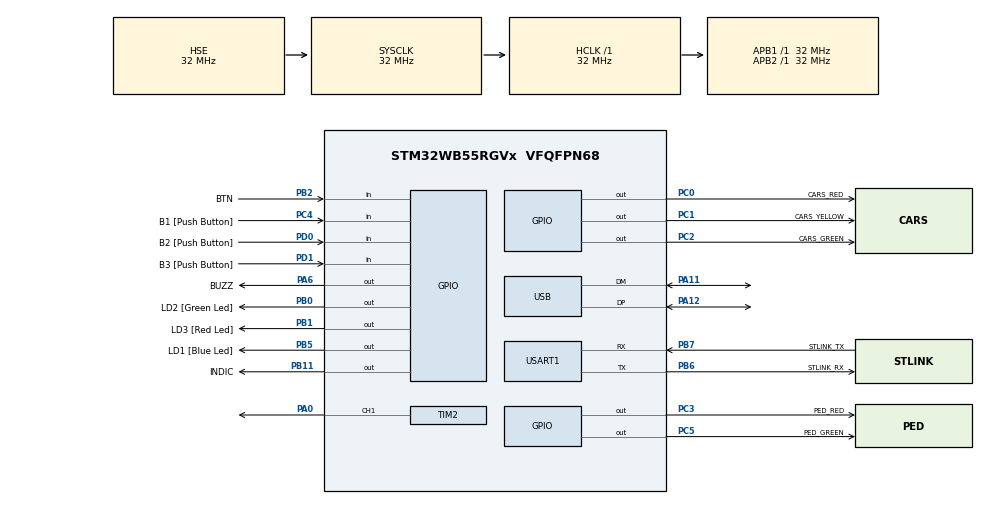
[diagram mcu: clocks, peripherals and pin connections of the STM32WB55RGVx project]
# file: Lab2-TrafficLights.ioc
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Mcu.Family=STM32WB
Mcu.Name=STM32WB55RGVx
Mcu.Package=VFQFPN68
NVIC.PriorityGroup=NVIC_PRIORITYGROUP_4
OSC_IN.Mode=HSE-External-Oscillator
OSC_IN.Signal=RCC_OSC_IN
OSC_OUT.Mode=HSE-External-Oscillator
OSC_OUT.Signal=RCC_OSC_OUT
PA0.Signal=S_TIM2_CH1
PA11.Mode=Device
PA11.Signal=USB_DM
PA12.Mode=Device
PA12.Signal=USB_DP
PA13.GPIO_Label=JTMS
PA13.Mode=Trace_Asynchronous_SW
PA13.Signal=SYS_JTMS-SWDIO
PA14.GPIO_Label=JTCK
PA14.Mode=Trace_Asynchronous_SW
PA14.Signal=SYS_JTCK-SWCLK
PA6.GPIO_Label=BUZZ
PA6.GPIO_PuPd=GPIO_NOPULL
PA6.Signal=GPIO_Output
PB0.GPIO_Label=LD2 [Green Led]
PB0.Signal=GPIO_Output
PB1.GPIO_Label=LD3 [Red Led]
PB1.Signal=GPIO_Output
PB11.GPIO_Label=INDIC
PB11.Signal=GPIO_Output
PB2.GPIO_Label=BTN
PB2.GPIO_PuPd=GPIO_PULLDOWN
PB2.Signal=GPIO_Input
PB3.GPIO_Label=JTDO
PB3.Mode=Trace_Asynchronous_SW
PB3.Signal=SYS_JTDO-SWO
PB5.GPIO_Label=LD1 [Blue Led]
PB5.Signal=GPIO_Output
PB6.GPIO_Label=STLINK_RX
PB6.GPIO_PuPd=GPIO_PULLUP
PB6.Mode=Asynchronous
PB6.Signal=USART1_TX
PB7.GPIO_Label=STLINK_TX
PB7.GPIO_PuPd=GPIO_PULLUP
PB7.Mode=Asynchronous
PB7.Signal=USART1_RX
PC0.GPIO_Label=CARS_RED
PC0.Signal=GPIO_Output
PC1.GPIO_Label=CARS_YELLOW
PC1.Signal=GPIO_Output
PC13.Mode=SYS_WakeUp1
PC13.Signal=SYS_WKUP2
PC14-OSC32_IN.Mode=LSE-External-Oscillator
PC14-OSC32_IN.Signal=RCC_OSC32_IN
PC15-OSC32_OUT.Mode=LSE-External-Oscillator
PC15-OSC32_OUT.Signal=RCC_OSC32_OUT
PC2.GPIO_Label=CARS_GREEN
PC2.Signal=GPIO_Output
PC3.GPIO_Label=PED_RED
PC3.Signal=GPIO_Output
PC4.GPIO_Label=B1 [Push Button]
PC4.Signal=GPIO_Input
PC5.GPIO_Label=PED_GREEN
PC5.Signal=GPIO_Output
PD0.GPIO_Label=B2 [Push Button]
PD0.Signal=GPIO_Input
PD1.GPIO_Label=B3 [Push Button]
PD1.Signal=GPIO_Input
ProjectManager.HeapSize=0x200
ProjectManager.StackSize=0x400
ProjectManager.TargetToolchain=STM32CubeIDE
RCC.ADCFreq_Value=48000000
RCC.AHBFreq_Value=32000000
RCC.APB1Freq_Value=32000000
RCC.APB1TimFreq_Value=32000000
RCC.APB2Freq_Value=32000000
RCC.APB2TimFreq_Value=32000000
RCC.APB3Freq_Value=16000000
RCC.CortexFreq_Value=32000000
RCC.HCLKFreq_Value=32000000
RCC.HSE_VALUE=32000000
RCC.HSI48_VALUE=48000000
RCC.HSI_VALUE=16000000
RCC.LSE_Drive_Capability=RCC_LSEDRIVE_LOW
RCC.PLLN=32
RCC.PLLSAI1N=24
RCC.SMPSCLockSelectionVirtual=RCC_SMPSCLKSOURCE_HSI
RCC.SMPSCLockSelectionVirtualVirtual=RCC_SMPSCLKSOURCE_HSI
RCC.SMPSDivider=1
RCC.SYSCLKFreq_VALUE=32000000
RCC.SYSCLKSource=RCC_SYSCLKSOURCE_HSE
RCC.USBFreq_Value=48000000
RCC.VCOOutputFreq_Value=128000000
SH.S_TIM2_CH1.0=TIM2_CH1,PWM Generation1 CH1
TIM2.Channel-PWM\ Generation1\ CH1=TIM_CHANNEL_1
USART1.VirtualMode-Asynchronous=VM_ASYNC
USART1.WordLength=WORDLENGTH_8B
VP_TIM2_VS_ClockSourceINT.Mode=Internal
board=P-NUCLEO-WB55-NUCLEO

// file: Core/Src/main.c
/* USER CODE BEGIN Header */
/**
 ******************************************************************************
 * @file           : main.c
 * @brief          : Main program body
 ******************************************************************************
 * @attention
 *
 * Copyright (c) 2023 STMicroelectronics.
 * All rights reserved.
 *
 * This software is licensed under terms that can be found in the LICENSE file
 * in the root directory of this software component.
 * If no LICENSE file comes with this software, it is provided AS-IS.
 *
 ******************************************************************************
 */
/* USER CODE END Header */
#include "main.h"

/* USER CODE BEGIN Includes */
#include "abuzz.h"
#include <stdbool.h>
#include <string.h>
#include <stdio.h>
#include "transmit.h"
/* USER CODE END Includes */

TIM_HandleTypeDef htim2;

UART_HandleTypeDef huart1;

PCD_HandleTypeDef hpcd_USB_FS;

void SystemClock_Config(void);
void PeriphCommonClock_Config(void);
static void MX_GPIO_Init(void);
static void MX_USART1_UART_Init(void);
static void MX_USB_PCD_Init(void);
static void MX_TIM2_Init(void);

/* USER CODE BEGIN 0 */

enum traffic_light_state currentState;

enum traffic_light_state {
	s_CarsRed_PedestrianGreen = 0b10001,
	s_CarsRedYellow_PedestrianRed = 0b11010,
	s_CarsYellow_PedestrianRed = 0b01010,
	s_CarsGreen_PedestrianRed = 0b00110,
	s_CarsRed_PedestrianRed = 0b10010,
	s_init = 0b11111
};

enum event {
	ev_none,
	ev_button_push,
	ev_state_timeout,
	ev_error = -99
};

#define EVQ_SIZE 10
enum event evq[ EVQ_SIZE ];
int evq_count = 0;
int evq_front_ix = 0;
int evq_rear_ix = 0;

void evq_init(){
	for(int i = 0; i < EVQ_SIZE; i++)
		evq[i] = ev_error;
}
enum event evq_front() {
	if (evq_count > 0) {
		return evq[evq_front_ix];
	} else {
		return ev_none;
	}
}

bool evq_is_full(){
	return evq_count == EVQ_SIZE;
}

bool evq_is_empty(){
	return evq_count == 0;
}

void evq_push_back(enum event e){
	if (!evq_is_full()) {
		evq[evq_rear_ix] = e;
		evq_rear_ix = (evq_rear_ix + 1) % EVQ_SIZE;
		evq_count++;
	} else {
		printf("Queue full");
	}
}

enum event evq_pop_front(){
	if (!evq_is_empty()) {
		enum event e = evq[evq_front_ix];
		evq[evq_front_ix] = ev_none;
		evq_front_ix = (evq_front_ix + 1) % EVQ_SIZE;
		evq_count--;
		return e;
	} else {
		return ev_none;
	}
}

void reset_traffic_lights(){
	HAL_GPIO_WritePin(CARS_RED_GPIO_Port, CARS_RED_Pin, RESET);
	HAL_GPIO_WritePin(CARS_YELLOW_GPIO_Port, CARS_YELLOW_Pin, RESET);
	HAL_GPIO_WritePin(CARS_GREEN_GPIO_Port, CARS_GREEN_Pin, RESET);
	HAL_GPIO_WritePin(PED_RED_GPIO_Port, PED_RED_Pin, RESET);
	HAL_GPIO_WritePin(PED_GREEN_GPIO_Port, PED_GREEN_Pin, RESET);
}

void set_traffic_lights(enum traffic_light_state state) {
	switch (state) {
	case s_CarsRed_PedestrianRed:
		reset_traffic_lights();
		currentState = s_CarsRed_PedestrianRed;
		HAL_GPIO_WritePin(CARS_RED_GPIO_Port, CARS_RED_Pin, SET);
		HAL_GPIO_WritePin(PED_RED_GPIO_Port, PED_RED_Pin, SET);
		break;
	case s_CarsRedYellow_PedestrianRed:
		reset_traffic_lights();
		currentState = s_CarsRedYellow_PedestrianRed;
		HAL_GPIO_WritePin(CARS_RED_GPIO_Port, CARS_RED_Pin, SET);
		HAL_GPIO_WritePin(CARS_YELLOW_GPIO_Port, CARS_YELLOW_Pin, SET);
		HAL_GPIO_WritePin(PED_RED_GPIO_Port, PED_RED_Pin, SET);
		break;
	case s_CarsYellow_PedestrianRed:
		reset_traffic_lights();
		currentState = s_CarsYellow_PedestrianRed;
		HAL_GPIO_WritePin(CARS_YELLOW_GPIO_Port, CARS_YELLOW_Pin, SET);
		HAL_GPIO_WritePin(PED_RED_GPIO_Port, PED_RED_Pin, SET);
		break;
	case s_CarsRed_PedestrianGreen:
		reset_traffic_lights();
		currentState = s_CarsRed_PedestrianGreen;
		HAL_GPIO_WritePin(CARS_RED_GPIO_Port, CARS_RED_Pin, SET);
		HAL_GPIO_WritePin(PED_GREEN_GPIO_Port, PED_GREEN_Pin, SET);
		break;
	case s_CarsGreen_PedestrianRed:
		reset_traffic_lights();
		currentState = s_CarsGreen_PedestrianRed;
		HAL_GPIO_WritePin(CARS_GREEN_GPIO_Port, CARS_GREEN_Pin, SET);
		HAL_GPIO_WritePin(PED_RED_GPIO_Port, PED_RED_Pin, SET);
		break;
	case s_init:
		reset_traffic_lights();
		currentState = s_init;
		HAL_GPIO_WritePin(CARS_RED_GPIO_Port, CARS_RED_Pin, SET);
		HAL_GPIO_WritePin(CARS_YELLOW_GPIO_Port, CARS_YELLOW_Pin, SET);
		HAL_GPIO_WritePin(CARS_GREEN_GPIO_Port, CARS_GREEN_Pin, SET);
		HAL_GPIO_WritePin(PED_RED_GPIO_Port, PED_RED_Pin, SET);
		HAL_GPIO_WritePin(PED_GREEN_GPIO_Port, PED_GREEN_Pin, SET);
		break;
	}
}

void buzz(){
	HAL_GPIO_WritePin(BUZZ_GPIO_Port, BUZZ_Pin, SET);
	abuzz_start();
	HAL_Delay(500);
	abuzz_p_long();
	HAL_Delay(500);
	abuzz_stop();
	HAL_GPIO_WritePin(BUZZ_GPIO_Port, BUZZ_Pin, RESET);
}

void toggleIndicator(){
	HAL_GPIO_TogglePin(INDIC_GPIO_Port, INDIC_Pin);
	buzz();
}

/* USER CODE END 0 */

int main(void)
{
	/* USER CODE BEGIN 1 */
	evq_init();
	/* USER CODE END 1 */

	/* MCU Configuration--------------------------------------------------------*/

	/* Reset of all peripherals, Initializes the Flash interface and the Systick. */
	HAL_Init();

	/* Configure the system clock */
	SystemClock_Config();

	/* Configure the peripherals common clocks */
	PeriphCommonClock_Config();

	/* Initialize all configured peripherals */
	MX_GPIO_Init();
	MX_USART1_UART_Init();
	MX_USB_PCD_Init();
	MX_TIM2_Init();
	/* USER CODE BEGIN 2 */
	HAL_TIM_PWM_Start(&htim2, TIM_CHANNEL_1);
	/* USER CODE END 2 */

	/* Infinite loop */
	/* USER CODE BEGIN WHILE */
	//test_circular_queue();
	set_traffic_lights(s_init);
	int ticks_left_in_state = 0;
	bool returnState = false;
	evq_init(); // Initialize the event queue

	while (1)
	{
		uint32_t buttonPressed = GPIOB->IDR & BTN_Pin;

		if (buttonPressed && (currentState == s_init || currentState == s_CarsGreen_PedestrianRed))
			evq_push_back(ev_button_push);

		if (evq_front() != ev_state_timeout){

			enum event currentEvent = evq_front();

			switch (currentState){
			case s_CarsGreen_PedestrianRed:
				if (currentEvent == ev_button_push){
					evq_pop_front();
					evq_push_back(ev_state_timeout);
					toggleIndicator();
					HAL_Delay(2000);
					set_traffic_lights(s_CarsYellow_PedestrianRed);
					ticks_left_in_state = 25;
				}
				break;
			case s_CarsYellow_PedestrianRed:
				evq_push_back(ev_state_timeout);
				set_traffic_lights(s_CarsRed_PedestrianRed);
				ticks_left_in_state = 15;
				break;
			case s_CarsRed_PedestrianRed:
				if(!returnState) {
					evq_push_back(ev_state_timeout);
					set_traffic_lights(s_CarsRed_PedestrianGreen);
					ticks_left_in_state = 50;
				} else if (returnState){
					returnState = false;
					evq_push_back(ev_state_timeout);
					set_traffic_lights(s_CarsRedYellow_PedestrianRed);
					toggleIndicator();
					ticks_left_in_state = 20;
				}
				break;
			case s_CarsRedYellow_PedestrianRed:
				evq_push_back(ev_state_timeout);
				set_traffic_lights(s_CarsGreen_PedestrianRed);
				ticks_left_in_state = 15;
				break;
			case s_CarsRed_PedestrianGreen:
				evq_push_back(ev_state_timeout);
				set_traffic_lights(s_CarsRed_PedestrianRed);
				ticks_left_in_state = 10;
				returnState = true;
				break;
			case s_init:
				if (currentEvent == ev_button_push){
					evq_pop_front();
					evq_push_back(ev_state_timeout);
					set_traffic_lights(s_CarsGreen_PedestrianRed);
					ticks_left_in_state = 20;
				}
				break;
			}
		} else {
			ticks_left_in_state--;
		}
		HAL_Delay(100);

		if (ticks_left_in_state == 0){
			evq_pop_front();
			evq_push_back(ev_none);
		}

		/* USER CODE END WHILE */

	}
}

void SystemClock_Config(void)
{
	RCC_OscInitTypeDef RCC_OscInitStruct = {0};
	RCC_ClkInitTypeDef RCC_ClkInitStruct = {0};

	/** Macro to configure the PLL multiplication factor
	 */
	__HAL_RCC_PLL_PLLM_CONFIG(RCC_PLLM_DIV1);

	/** Macro to configure the PLL clock source
	 */
	__HAL_RCC_PLL_PLLSOURCE_CONFIG(RCC_PLLSOURCE_MSI);

	/** Configure LSE Drive Capability
	 */
	HAL_PWR_EnableBkUpAccess();
	__HAL_RCC_LSEDRIVE_CONFIG(RCC_LSEDRIVE_LOW);

	/** Configure the main internal regulator output voltage
	 */
	__HAL_PWR_VOLTAGESCALING_CONFIG(PWR_REGULATOR_VOLTAGE_SCALE1);

	/** Initializes the RCC Oscillators according to the specified parameters
	 * in the RCC_OscInitTypeDef structure.
	 */
	RCC_OscInitStruct.OscillatorType = RCC_OSCILLATORTYPE_HSI|RCC_OSCILLATORTYPE_HSE
			|RCC_OSCILLATORTYPE_LSE|RCC_OSCILLATORTYPE_MSI;
	RCC_OscInitStruct.HSEState = RCC_HSE_ON;
	RCC_OscInitStruct.LSEState = RCC_LSE_ON;
	RCC_OscInitStruct.HSIState = RCC_HSI_ON;
	RCC_OscInitStruct.MSIState = RCC_MSI_ON;
	RCC_OscInitStruct.HSICalibrationValue = RCC_HSICALIBRATION_DEFAULT;
	RCC_OscInitStruct.MSICalibrationValue = RCC_MSICALIBRATION_DEFAULT;
	RCC_OscInitStruct.MSIClockRange = RCC_MSIRANGE_6;
	RCC_OscInitStruct.PLL.PLLState = RCC_PLL_NONE;
	if (HAL_RCC_OscConfig(&RCC_OscInitStruct) != HAL_OK)
	{
		Error_Handler();
	}

	/** Configure the SYSCLKSource, HCLK, PCLK1 and PCLK2 clocks dividers
	 */
	RCC_ClkInitStruct.ClockType = RCC_CLOCKTYPE_HCLK4|RCC_CLOCKTYPE_HCLK2
			|RCC_CLOCKTYPE_HCLK|RCC_CLOCKTYPE_SYSCLK
			|RCC_CLOCKTYPE_PCLK1|RCC_CLOCKTYPE_PCLK2;
	RCC_ClkInitStruct.SYSCLKSource = RCC_SYSCLKSOURCE_HSE;
	RCC_ClkInitStruct.AHBCLKDivider = RCC_SYSCLK_DIV1;
	RCC_ClkInitStruct.APB1CLKDivider = RCC_HCLK_DIV1;
	RCC_ClkInitStruct.APB2CLKDivider = RCC_HCLK_DIV1;
	RCC_ClkInitStruct.AHBCLK2Divider = RCC_SYSCLK_DIV1;
	RCC_ClkInitStruct.AHBCLK4Divider = RCC_SYSCLK_DIV1;

	if (HAL_RCC_ClockConfig(&RCC_ClkInitStruct, FLASH_LATENCY_1) != HAL_OK)
	{
		Error_Handler();
	}

	/** Enable MSI Auto calibration
	 */
	HAL_RCCEx_EnableMSIPLLMode();
}

void PeriphCommonClock_Config(void)
{
	RCC_PeriphCLKInitTypeDef PeriphClkInitStruct = {0};

	/** Initializes the peripherals clock
	 */
	PeriphClkInitStruct.PeriphClockSelection = RCC_PERIPHCLK_SMPS;
	PeriphClkInitStruct.SmpsClockSelection = RCC_SMPSCLKSOURCE_HSI;
	PeriphClkInitStruct.SmpsDivSelection = RCC_SMPSCLKDIV_RANGE0;

	if (HAL_RCCEx_PeriphCLKConfig(&PeriphClkInitStruct) != HAL_OK)
	{
		Error_Handler();
	}
}

static void MX_TIM2_Init(void)
{

	TIM_ClockConfigTypeDef sClockSourceConfig = {0};
	TIM_MasterConfigTypeDef sMasterConfig = {0};
	TIM_OC_InitTypeDef sConfigOC = {0};

	htim2.Instance = TIM2;
	htim2.Init.Prescaler = 0;
	htim2.Init.CounterMode = TIM_COUNTERMODE_UP;
	htim2.Init.Period = 4294967295;
	htim2.Init.ClockDivision = TIM_CLOCKDIVISION_DIV1;
	htim2.Init.AutoReloadPreload = TIM_AUTORELOAD_PRELOAD_DISABLE;
	if (HAL_TIM_Base_Init(&htim2) != HAL_OK)
	{
		Error_Handler();
	}
	sClockSourceConfig.ClockSource = TIM_CLOCKSOURCE_INTERNAL;
	if (HAL_TIM_ConfigClockSource(&htim2, &sClockSourceConfig) != HAL_OK)
	{
		Error_Handler();
	}
	if (HAL_TIM_PWM_Init(&htim2) != HAL_OK)
	{
		Error_Handler();
	}
	sMasterConfig.MasterOutputTrigger = TIM_TRGO_RESET;
	sMasterConfig.MasterSlaveMode = TIM_MASTERSLAVEMODE_DISABLE;
	if (HAL_TIMEx_MasterConfigSynchronization(&htim2, &sMasterConfig) != HAL_OK)
	{
		Error_Handler();
	}
	sConfigOC.OCMode = TIM_OCMODE_PWM1;
	sConfigOC.Pulse = 0;
	sConfigOC.OCPolarity = TIM_OCPOLARITY_HIGH;
	sConfigOC.OCFastMode = TIM_OCFAST_DISABLE;
	if (HAL_TIM_PWM_ConfigChannel(&htim2, &sConfigOC, TIM_CHANNEL_1) != HAL_OK)
	{
		Error_Handler();
	}
	HAL_TIM_MspPostInit(&htim2);

}

static void MX_USART1_UART_Init(void)
{

	huart1.Instance = USART1;
	huart1.Init.BaudRate = 115200;
	huart1.Init.WordLength = UART_WORDLENGTH_8B;
	huart1.Init.StopBits = UART_STOPBITS_1;
	huart1.Init.Parity = UART_PARITY_NONE;
	huart1.Init.Mode = UART_MODE_TX_RX;
	huart1.Init.HwFlowCtl = UART_HWCONTROL_NONE;
	huart1.Init.OverSampling = UART_OVERSAMPLING_16;
	huart1.Init.OneBitSampling = UART_ONE_BIT_SAMPLE_DISABLE;
	huart1.Init.ClockPrescaler = UART_PRESCALER_DIV1;
	huart1.AdvancedInit.AdvFeatureInit = UART_ADVFEATURE_NO_INIT;
	if (HAL_UART_Init(&huart1) != HAL_OK)
	{
		Error_Handler();
	}
	if (HAL_UARTEx_SetTxFifoThreshold(&huart1, UART_TXFIFO_THRESHOLD_1_8) != HAL_OK)
	{
		Error_Handler();
	}
	if (HAL_UARTEx_SetRxFifoThreshold(&huart1, UART_RXFIFO_THRESHOLD_1_8) != HAL_OK)
	{
		Error_Handler();
	}
	if (HAL_UARTEx_DisableFifoMode(&huart1) != HAL_OK)
	{
		Error_Handler();
	}

}

static void MX_USB_PCD_Init(void)
{

	hpcd_USB_FS.Instance = USB;
	hpcd_USB_FS.Init.dev_endpoints = 8;
	hpcd_USB_FS.Init.speed = PCD_SPEED_FULL;
	hpcd_USB_FS.Init.phy_itface = PCD_PHY_EMBEDDED;
	hpcd_USB_FS.Init.Sof_enable = DISABLE;
	hpcd_USB_FS.Init.low_power_enable = DISABLE;
	hpcd_USB_FS.Init.lpm_enable = DISABLE;
	hpcd_USB_FS.Init.battery_charging_enable = DISABLE;
	if (HAL_PCD_Init(&hpcd_USB_FS) != HAL_OK)
	{
		Error_Handler();
	}

}

static void MX_GPIO_Init(void)
{
	GPIO_InitTypeDef GPIO_InitStruct = {0};

	/* GPIO Ports Clock Enable */
	__HAL_RCC_GPIOC_CLK_ENABLE();
	__HAL_RCC_GPIOA_CLK_ENABLE();
	__HAL_RCC_GPIOB_CLK_ENABLE();
	__HAL_RCC_GPIOD_CLK_ENABLE();

	/*Configure GPIO pin Output Level */
	HAL_GPIO_WritePin(GPIOC, CARS_RED_Pin|CARS_YELLOW_Pin|CARS_GREEN_Pin|PED_RED_Pin
			|PED_GREEN_Pin, GPIO_PIN_RESET);

	/*Configure GPIO pin Output Level */
	HAL_GPIO_WritePin(BUZZ_GPIO_Port, BUZZ_Pin, GPIO_PIN_RESET);

	/*Configure GPIO pin Output Level */
	HAL_GPIO_WritePin(GPIOB, INDIC_Pin|LD2_Pin|LD3_Pin|LD1_Pin, GPIO_PIN_RESET);

	/*Configure GPIO pins : CARS_RED_Pin CARS_YELLOW_Pin CARS_GREEN_Pin PED_RED_Pin
                           PED_GREEN_Pin */
	GPIO_InitStruct.Pin = CARS_RED_Pin|CARS_YELLOW_Pin|CARS_GREEN_Pin|PED_RED_Pin
			|PED_GREEN_Pin;
	GPIO_InitStruct.Mode = GPIO_MODE_OUTPUT_PP;
	GPIO_InitStruct.Pull = GPIO_NOPULL;
	GPIO_InitStruct.Speed = GPIO_SPEED_FREQ_LOW;
	HAL_GPIO_Init(GPIOC, &GPIO_InitStruct);

	/*Configure GPIO pin : BUZZ_Pin */
	GPIO_InitStruct.Pin = BUZZ_Pin;
	GPIO_InitStruct.Mode = GPIO_MODE_OUTPUT_PP;
	GPIO_InitStruct.Pull = GPIO_NOPULL;
	GPIO_InitStruct.Speed = GPIO_SPEED_FREQ_LOW;
	HAL_GPIO_Init(BUZZ_GPIO_Port, &GPIO_InitStruct);

	/*Configure GPIO pin : B1_Pin */
	GPIO_InitStruct.Pin = B1_Pin;
	GPIO_InitStruct.Mode = GPIO_MODE_INPUT;
	GPIO_InitStruct.Pull = GPIO_NOPULL;
	HAL_GPIO_Init(B1_GPIO_Port, &GPIO_InitStruct);

	/*Configure GPIO pin : BTN_Pin */
	GPIO_InitStruct.Pin = BTN_Pin;
	GPIO_InitStruct.Mode = GPIO_MODE_INPUT;
	GPIO_InitStruct.Pull = GPIO_PULLDOWN;
	HAL_GPIO_Init(BTN_GPIO_Port, &GPIO_InitStruct);

	/*Configure GPIO pins : INDIC_Pin LD2_Pin LD3_Pin LD1_Pin */
	GPIO_InitStruct.Pin = INDIC_Pin|LD2_Pin|LD3_Pin|LD1_Pin;
	GPIO_InitStruct.Mode = GPIO_MODE_OUTPUT_PP;
	GPIO_InitStruct.Pull = GPIO_NOPULL;
	GPIO_InitStruct.Speed = GPIO_SPEED_FREQ_LOW;
	HAL_GPIO_Init(GPIOB, &GPIO_InitStruct);

	/*Configure GPIO pins : B2_Pin B3_Pin */
	GPIO_InitStruct.Pin = B2_Pin|B3_Pin;
	GPIO_InitStruct.Mode = GPIO_MODE_INPUT;
	GPIO_InitStruct.Pull = GPIO_NOPULL;
	HAL_GPIO_Init(GPIOD, &GPIO_InitStruct);

}

void Error_Handler(void)
{
	__disable_irq();
	while (1)
	{
	}
}
